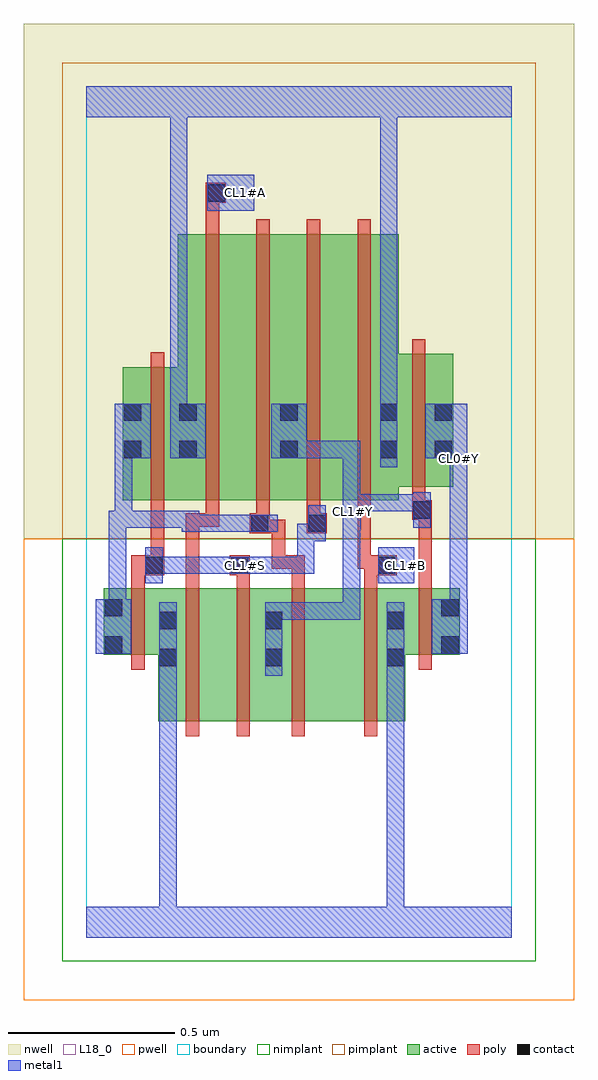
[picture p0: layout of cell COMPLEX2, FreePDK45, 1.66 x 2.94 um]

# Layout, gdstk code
import gdstk
lib = gdstk.Library(unit=1e-6, precision=1e-09)
def R(c, l, rs):  # rectangles x0, y0, x1, y1
    for r in rs: c.add(gdstk.rectangle(r[:2], r[2:], *l))
def A(c, l, x, y, w, h, nx, ny, dx, dy):  # array of equal rectangles
    R(c, l, [(x+i*dx, y+j*dy, x+i*dx+w, y+j*dy+h) for i in range(nx) for j in range(ny)])
active = (1, 0)
pwell = (2, 0)
nwell = (3, 0)
nimplant = (4, 0)
pimplant = (5, 0)
poly = (9, 0)
contact = (10, 0)
metal1 = (11, 0)
L18_0 = (18, 0)
boundary = (235, 0)

complex2 = lib.new_cell('COMPLEX2')
R(complex2, active, [(0.216,0.65,0.276,0.984), (0.216,0.65,0.396,1.05), (0.396,0.65,0.594,1.05), (0.534,0.65,0.776,1.05), (0.776,0.65,0.96,1.05), (0.9,0.65,0.96,0.984), (0.534,0.756,0.594,0.984), (0.052,0.85,0.112,1.05), (0.052,0.85,0.276,1.05), (0.9,0.85,1.124,1.05), (1.064,0.85,1.124,1.05), (0.11,1.316,0.336,1.716), (0.11,1.316,0.17,1.644), (0.276,1.316,0.456,2.116), (0.276,1.316,0.336,1.702), (0.456,1.316,0.64,2.116), (0.58,1.316,0.76,2.116), (0.58,1.316,0.64,2.044), (0.76,1.316,0.94,2.116), (0.88,1.356,0.94,1.644), (0.88,1.356,1.104,1.756), (1.044,1.356,1.104,1.644)])
R(complex2, pwell, [(-0.188,-0.188,1.468,1.2)])
R(complex2, nwell, [(-0.188,1.2,1.468,2.748)])
R(complex2, nimplant, [(-0.072,-0.072,1.352,1.2)])
R(complex2, pimplant, [(-0.072,1.2,1.352,2.632)])
A(complex2, poly, 0.36, 1.236, 0.04, 0.076, 3, 1, 0.152, 0)
A(complex2, poly, 0.36, 1.272, 0.04, 0.888, 4, 1, 0.152, 0)
R(complex2, poly, [(0.3,0.606,0.34,1.094), (0.452,0.606,0.492,1.094), (0.618,0.606,0.658,1.094), (0.836,0.606,0.876,1.094), (0.136,0.806,0.176,1.094), (1,0.806,1.04,1.094), (0.136,1.054,0.176,1.13), (0.3,1.054,0.34,1.276), (0.452,1.054,0.492,1.13), (0.618,1.054,0.658,1.15), (0.836,1.054,0.876,1.13), (1,1.054,1.04,1.296), (0.136,1.09,0.234,1.15), (0.432,1.09,0.492,1.15), (0.836,1.09,0.934,1.15), (0.194,1.11,0.234,1.15), (0.194,1.11,0.234,1.15), (0.194,1.11,0.234,1.312), (0.558,1.11,0.598,1.15), (0.558,1.11,0.658,1.15), (0.558,1.11,0.598,1.256), (0.618,1.11,0.658,1.15), (0.816,1.11,0.856,1.312), (0.816,1.11,0.876,1.15), (0.836,1.11,0.876,1.15), (0.492,1.216,0.552,1.276), (0.512,1.216,0.598,1.256), (0.558,1.216,0.598,1.256), (0.664,1.216,0.724,1.276), (0.3,1.236,0.356,1.276), (0.316,1.236,0.356,1.276), (0.316,1.236,0.4,1.276), (0.98,1.256,1.04,1.316), (1,1.256,1.04,1.296), (1,1.256,1.04,1.296), (0.194,1.272,0.234,1.76), (0.98,1.276,1.02,1.352), (0.98,1.312,1.02,1.8), (0.36,2.12,0.4,2.25), (0.36,2.21,0.42,2.27)])
R(complex2, contact, [(0.22,0.816,0.272,0.868), (0.538,0.816,0.59,0.868), (0.904,0.816,0.956,0.868), (0.056,0.854,0.108,0.906), (1.068,0.854,1.12,0.906), (0.22,0.928,0.272,0.98), (0.538,0.928,0.59,0.98), (0.904,0.928,0.956,0.98), (0.056,0.966,0.108,1.018), (1.068,0.966,1.12,1.018), (0.178,1.094,0.23,1.146), (0.436,1.094,0.488,1.146), (0.878,1.094,0.93,1.146), (0.496,1.22,0.548,1.272), (0.668,1.22,0.72,1.272), (0.984,1.26,1.036,1.312), (0.114,1.442,0.166,1.494), (0.28,1.442,0.332,1.494), (0.584,1.442,0.636,1.494), (0.884,1.442,0.936,1.494), (1.048,1.442,1.1,1.494), (0.114,1.554,0.166,1.606), (0.28,1.554,0.332,1.606), (0.584,1.554,0.636,1.606), (0.884,1.554,0.936,1.606), (1.048,1.554,1.1,1.606), (0.364,2.214,0.416,2.266)])
R(complex2, metal1, [(0,0,1.28,0.092), (0.22,0.04,0.272,0.092), (0.22,0.04,0.272,0.092), (0.22,0.04,0.272,0.092), (0.22,0.04,0.272,0.092), (0.22,0.04,0.272,0.092), (0.22,0.04,0.272,0.092), (0.22,0.04,0.272,0.092), (0.22,0.04,0.272,0.092), (0.22,0.04,0.272,0.84), (0.904,0.04,0.956,0.092), (0.904,0.04,0.956,0.092), (0.904,0.04,0.956,0.092), (0.904,0.04,0.956,0.092), (0.904,0.04,0.956,0.092), (0.904,0.04,0.956,0.092), (0.904,0.04,0.956,0.092), (0.904,0.04,0.956,0.092), (0.904,0.04,0.956,0.092), (0.904,0.04,0.956,0.092), (0.904,0.04,0.956,0.092), (0.904,0.04,0.956,0.092), (0.904,0.04,0.956,0.84), (0.22,0.788,0.272,0.84), (0.22,0.788,0.272,0.84), (0.22,0.788,0.272,0.84), (0.22,0.788,0.272,0.84), (0.22,0.788,0.272,1.008), (0.538,0.788,0.59,1.008), (0.904,0.788,0.956,1.008), (0.028,0.854,0.136,1.018), (1.04,0.854,1.148,1.018), (0.538,0.956,0.72,1.008), (0.668,0.956,0.72,1.008), (0.668,0.956,0.824,1.008), (0.772,0.956,0.824,1.008), (0.772,0.956,0.824,1.008), (0.772,0.956,0.824,1.008), (0.772,0.956,0.824,1.278), (0.068,0.966,0.12,1.284), (1.094,0.966,1.146,1.438), (0.178,1.066,0.23,1.174), (0.878,1.066,0.986,1.174), (0.178,1.094,0.35,1.146), (0.298,1.094,0.35,1.146), (0.298,1.094,0.35,1.146), (0.298,1.094,0.35,1.146), (0.298,1.094,0.46,1.146), (0.408,1.094,0.46,1.146), (0.408,1.094,0.46,1.146), (0.408,1.094,0.534,1.146), (0.482,1.094,0.686,1.146), (0.634,1.094,0.686,1.146), (0.634,1.094,0.686,1.244), (0.634,1.192,0.686,1.244), (0.634,1.192,0.72,1.244), (0.668,1.192,0.72,1.3), (0.288,1.22,0.46,1.272), (0.288,1.22,0.34,1.284), (0.408,1.22,0.46,1.272), (0.408,1.22,0.52,1.272), (0.468,1.22,0.576,1.272), (0.772,1.226,0.826,1.334), (0.068,1.232,0.12,1.284), (0.068,1.232,0.12,1.284), (0.068,1.232,0.138,1.284), (0.086,1.232,0.138,1.284), (0.086,1.232,0.138,1.284), (0.086,1.232,0.34,1.284), (0.086,1.232,0.138,1.494), (0.288,1.232,0.34,1.284), (0.288,1.232,0.34,1.284), (0.984,1.232,1.036,1.34), (0.772,1.282,0.824,1.494), (0.774,1.282,0.83,1.334), (0.778,1.282,0.83,1.334), (0.778,1.282,0.936,1.334), (0.884,1.282,0.936,1.334), (0.884,1.282,1.036,1.334), (1.094,1.386,1.146,1.494), (0.884,1.414,0.936,1.634), (0.086,1.442,0.194,1.606), (0.252,1.442,0.36,1.606), (0.556,1.442,0.664,1.606), (0.612,1.442,0.686,1.494), (0.634,1.442,0.686,1.494), (0.634,1.442,0.824,1.494), (0.772,1.442,0.824,1.494), (1.02,1.442,1.146,1.606), (1.094,1.442,1.146,1.494), (1.094,1.442,1.146,1.494), (1.094,1.442,1.146,1.494), (0.252,1.554,0.304,1.606), (0.252,1.554,0.304,1.606), (0.252,1.554,0.304,1.606), (0.252,1.554,0.304,1.606), (0.252,1.554,0.304,1.606), (0.252,1.554,0.304,1.606), (0.252,1.554,0.304,1.606), (0.252,1.554,0.304,1.606), (0.252,1.554,0.304,2.52), (0.884,1.582,0.936,1.634), (0.884,1.582,0.936,1.634), (0.884,1.582,0.936,1.634), (0.884,1.582,0.936,1.634), (0.884,1.582,0.936,1.634), (0.884,1.582,0.936,1.634), (0.884,1.582,0.936,1.634), (0.884,1.582,0.936,1.634), (0.884,1.582,0.936,2.52), (0.364,2.186,0.506,2.294), (0,2.468,1.28,2.56)])
R(complex2, L18_0, [(0,0,1.28,0.092), (0.22,0.04,0.272,0.092), (0.22,0.04,0.272,0.092), (0.22,0.04,0.272,0.092), (0.22,0.04,0.272,0.092), (0.22,0.04,0.272,0.092), (0.22,0.04,0.272,0.092), (0.22,0.04,0.272,0.092), (0.22,0.04,0.272,0.092), (0.22,0.04,0.272,0.84), (0.904,0.04,0.956,0.092), (0.904,0.04,0.956,0.092), (0.904,0.04,0.956,0.092), (0.904,0.04,0.956,0.092), (0.904,0.04,0.956,0.092), (0.904,0.04,0.956,0.092), (0.904,0.04,0.956,0.092), (0.904,0.04,0.956,0.092), (0.904,0.04,0.956,0.092), (0.904,0.04,0.956,0.092), (0.904,0.04,0.956,0.092), (0.904,0.04,0.956,0.092), (0.904,0.04,0.956,0.84), (0.22,0.788,0.272,0.84), (0.22,0.788,0.272,0.84), (0.22,0.788,0.272,0.84), (0.22,0.788,0.272,0.84), (0.22,0.788,0.272,1.008), (0.538,0.788,0.59,1.008), (0.904,0.788,0.956,1.008), (1.04,0.854,1.148,1.018), (0.538,0.956,0.72,1.008), (0.668,0.956,0.72,1.008), (0.668,0.956,0.824,1.008), (0.772,0.956,0.824,1.008), (0.772,0.956,0.824,1.008), (0.772,0.956,0.824,1.008), (0.772,0.956,0.824,1.278), (1.094,0.966,1.146,1.438), (0.178,1.066,0.23,1.174), (0.878,1.066,0.986,1.174), (0.178,1.094,0.35,1.146), (0.298,1.094,0.35,1.146), (0.298,1.094,0.35,1.146), (0.298,1.094,0.35,1.146), (0.298,1.094,0.46,1.146), (0.408,1.094,0.46,1.146), (0.408,1.094,0.46,1.146), (0.408,1.094,0.534,1.146), (0.454,1.094,0.506,1.146), (0.482,1.094,0.686,1.146), (0.634,1.094,0.686,1.146), (0.634,1.094,0.686,1.244), (0.934,1.094,0.986,1.146), (0.634,1.192,0.686,1.244), (0.634,1.192,0.72,1.244), (0.668,1.192,0.72,1.3), (0.772,1.226,0.826,1.334), (0.984,1.232,1.036,1.34), (0.774,1.254,0.826,1.306), (0.772,1.282,0.824,1.494), (0.774,1.282,0.83,1.334), (0.778,1.282,0.83,1.334), (0.778,1.282,0.936,1.334), (0.884,1.282,0.936,1.334), (0.884,1.282,1.036,1.334), (1.094,1.386,1.146,1.494), (0.884,1.414,0.936,1.634), (1.094,1.414,1.146,1.466), (0.252,1.442,0.36,1.606), (0.556,1.442,0.664,1.606), (0.612,1.442,0.686,1.494), (0.634,1.442,0.686,1.494), (0.634,1.442,0.824,1.494), (0.772,1.442,0.824,1.494), (1.02,1.442,1.146,1.606), (1.094,1.442,1.146,1.494), (1.094,1.442,1.146,1.494), (1.094,1.442,1.146,1.494), (0.252,1.554,0.304,1.606), (0.252,1.554,0.304,1.606), (0.252,1.554,0.304,1.606), (0.252,1.554,0.304,1.606), (0.252,1.554,0.304,1.606), (0.252,1.554,0.304,1.606), (0.252,1.554,0.304,1.606), (0.252,1.554,0.304,1.606), (0.252,1.554,0.304,2.52), (0.884,1.582,0.936,1.634), (0.884,1.582,0.936,1.634), (0.884,1.582,0.936,1.634), (0.884,1.582,0.936,1.634), (0.884,1.582,0.936,1.634), (0.884,1.582,0.936,1.634), (0.884,1.582,0.936,1.634), (0.884,1.582,0.936,1.634), (0.884,1.582,0.936,2.52), (0.364,2.186,0.506,2.294), (0.454,2.214,0.506,2.266), (0,2.468,1.28,2.56)])
R(complex2, boundary, [(0,0,1.28,2.56)])
complex2.add(gdstk.Label('CL0#Y', (1.12,1.44), layer=11, texttype=0))
complex2.add(gdstk.Label('CL1#A', (0.48,2.24), layer=11, texttype=0))
complex2.add(gdstk.Label('CL1#B', (0.96,1.12), layer=11, texttype=0))
complex2.add(gdstk.Label('CL1#S', (0.48,1.12), layer=11, texttype=0))
complex2.add(gdstk.Label('CL1#Y', (0.8,1.28), layer=11, texttype=0))

lib.write_gds('COMPLEX2.gds')
